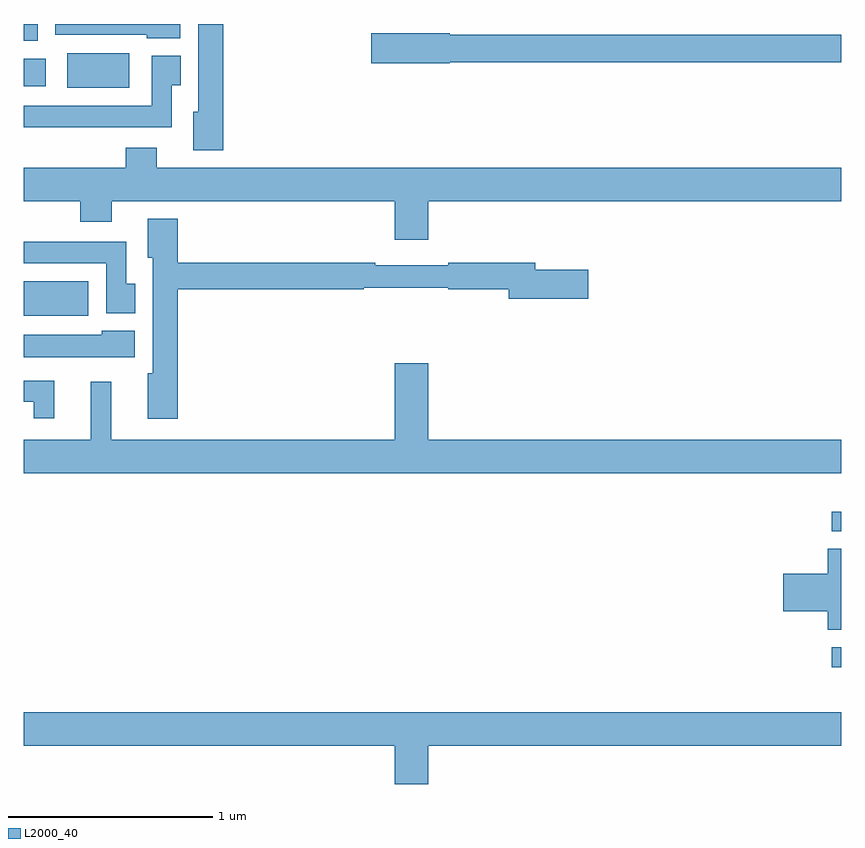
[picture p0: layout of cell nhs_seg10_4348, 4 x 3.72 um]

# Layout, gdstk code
import gdstk
lib = gdstk.Library(unit=1e-6, precision=1e-09)
def R(c, l, rs):  # rectangles x0, y0, x1, y1
    for r in rs: c.add(gdstk.rectangle(r[:2], r[2:], *l))
def P(c, l, *ps):  # polygons
    for p in ps: c.add(gdstk.Polygon(p, *l))
L2000_40 = (2000, 40)

nhs_seg10_4348 = lib.new_cell('nhs_seg10_4348')
R(nhs_seg10_4348, L2000_40, [(358.953,1315.351,359,1315.449), (358.953,1316.016,359,1316.112), (355,1317.071,355.315,1317.241), (355.211,1318.187,355.516,1318.357), (355,1318.196,355.108,1318.33), (355,1318.418,355.069,1318.5)])
P(nhs_seg10_4348, L2000_40, [(355.976,1318.5),(355.853,1318.5),(355.853,1318.071),(355.829,1318.071),(355.829,1317.881),(355.976,1317.881)],
  [(355.765,1318.5),(355.154,1318.5),(355.154,1318.448),(355.602,1318.448),(355.602,1318.43),(355.765,1318.43)],
  [(357.084,1318.312),(359,1318.312),(359,1318.448),(357.084,1318.448),(357.084,1318.454),(356.7,1318.454),(356.7,1318.307),(357.084,1318.307)],
  [(355.723,1318.201),(355.768,1318.201),(355.768,1318.345),(355.626,1318.345),(355.626,1318.099),(355,1318.099),(355,1317.995),(355.723,1317.995)],
  [(356.98,1317.632),(359,1317.632),(359,1317.796),(355.651,1317.796),(355.651,1317.895),(355.499,1317.895),(355.499,1317.796),(355,1317.796),(355,1317.632),(355.277,1317.632),(355.277,1317.533),(355.429,1317.533),(355.429,1317.632),(356.816,1317.632),(356.816,1317.444),(356.98,1317.444)],
  [(355.754,1317.202),(356.664,1317.202),(356.664,1317.21),(357.078,1317.21),(357.078,1317.202),(357.374,1317.202),(357.374,1317.155),(357.763,1317.155),(357.763,1317.297),(357.502,1317.297),(357.502,1317.331),(357.076,1317.331),(357.076,1317.318),(356.72,1317.318),(356.72,1317.331),(355.754,1317.331),(355.754,1317.547),(355.607,1317.547),(355.607,1317.357),(355.631,1317.357),(355.631,1316.79),(355.607,1316.79),(355.607,1316.568),(355.754,1316.568)],
  [(355.546,1317.228),(355.501,1317.228),(355.501,1317.433),(355,1317.433),(355,1317.329),(355.404,1317.329),(355.404,1317.084),(355.546,1317.084)],
  [(355.543,1316.998),(355.38,1316.998),(355.38,1316.98),(355,1316.98),(355,1316.87),(355.543,1316.87)],
  [(359,1316.464),(356.98,1316.464),(356.98,1316.839),(356.816,1316.839),(356.816,1316.464),(355.427,1316.464),(355.427,1316.749),(355.328,1316.749),(355.328,1316.464),(355,1316.464),(355,1316.3),(359,1316.3)],
  [(355.148,1316.755),(355,1316.755),(355,1316.651),(355.049,1316.651),(355.049,1316.571),(355.148,1316.571)],
  [(359,1315.931),(358.934,1315.931),(358.934,1315.808),(358.716,1315.808),(358.716,1315.625),(358.934,1315.625),(358.934,1315.534),(359,1315.534)],
  [(356.98,1314.968),(359,1314.968),(359,1315.132),(355,1315.132),(355,1314.968),(356.816,1314.968),(356.816,1314.78),(356.98,1314.78)])

lib.write_gds('nhs_seg10_4348.gds')
